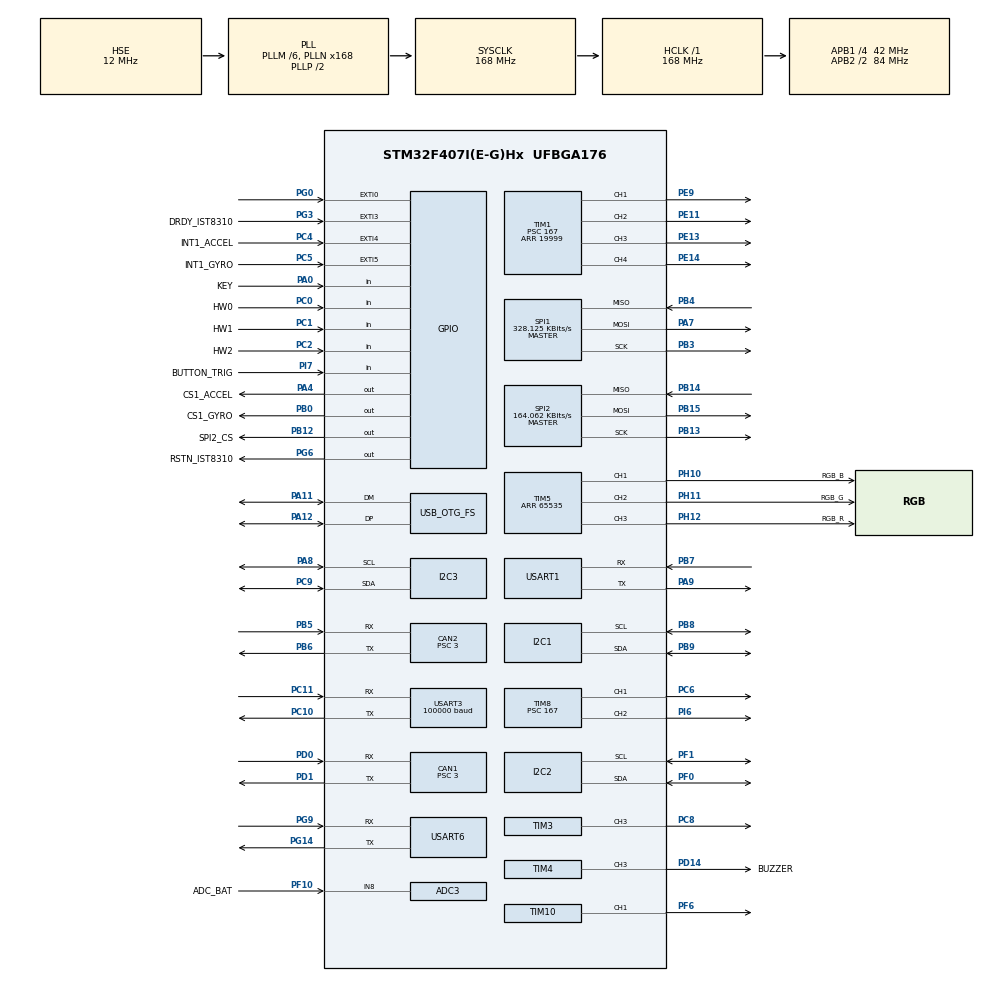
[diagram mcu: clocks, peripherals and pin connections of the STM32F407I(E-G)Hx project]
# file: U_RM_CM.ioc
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ADC1.Channel-0\#ChannelRegularConversion=ADC_CHANNEL_VREFINT
ADC1.ClockPrescaler=ADC_CLOCK_SYNC_PCLK_DIV6
ADC1.NbrOfConversionFlag=1
ADC1.Rank-0\#ChannelRegularConversion=1
ADC1.SamplingTime-0\#ChannelRegularConversion=ADC_SAMPLETIME_3CYCLES
ADC1.master=1
ADC3.Channel-0\#ChannelRegularConversion=ADC_CHANNEL_8
ADC3.ClockPrescaler=ADC_CLOCK_SYNC_PCLK_DIV6
ADC3.NbrOfConversionFlag=1
ADC3.Rank-0\#ChannelRegularConversion=1
ADC3.SamplingTime-0\#ChannelRegularConversion=ADC_SAMPLETIME_3CYCLES
CAN1.BS1=CAN_BS1_10TQ
CAN1.BS2=CAN_BS2_3TQ
CAN1.CalculateBaudRate=1000000
CAN1.CalculateTimeBit=1000
CAN1.CalculateTimeQuantum=71.42857142857143
CAN1.Prescaler=3
CAN2.BS1=CAN_BS1_10TQ
CAN2.BS2=CAN_BS2_3TQ
CAN2.CalculateBaudRate=1000000
CAN2.CalculateTimeBit=1000
CAN2.CalculateTimeQuantum=71.42857142857143
CAN2.Prescaler=3
Dma.I2C2_TX.2.Direction=DMA_MEMORY_TO_PERIPH
Dma.I2C2_TX.2.FIFOMode=DMA_FIFOMODE_DISABLE
Dma.I2C2_TX.2.Instance=DMA1_Stream7
Dma.I2C2_TX.2.MemDataAlignment=DMA_MDATAALIGN_BYTE
Dma.I2C2_TX.2.MemInc=DMA_MINC_ENABLE
Dma.I2C2_TX.2.Mode=DMA_NORMAL
Dma.I2C2_TX.2.PeriphDataAlignment=DMA_PDATAALIGN_BYTE
Dma.I2C2_TX.2.PeriphInc=DMA_PINC_DISABLE
Dma.I2C2_TX.2.Priority=DMA_PRIORITY_HIGH
Dma.Request0=SPI1_RX
Dma.Request1=SPI1_TX
Dma.Request2=I2C2_TX
Dma.Request3=USART1_TX
Dma.Request4=USART3_RX
Dma.Request5=USART6_RX
Dma.Request6=USART6_TX
Dma.SPI1_RX.0.Direction=DMA_PERIPH_TO_MEMORY
Dma.SPI1_RX.0.FIFOMode=DMA_FIFOMODE_DISABLE
Dma.SPI1_RX.0.Instance=DMA2_Stream2
Dma.SPI1_RX.0.MemDataAlignment=DMA_MDATAALIGN_BYTE
Dma.SPI1_RX.0.MemInc=DMA_MINC_ENABLE
Dma.SPI1_RX.0.Mode=DMA_NORMAL
Dma.SPI1_RX.0.PeriphDataAlignment=DMA_PDATAALIGN_BYTE
Dma.SPI1_RX.0.PeriphInc=DMA_PINC_DISABLE
Dma.SPI1_RX.0.Priority=DMA_PRIORITY_VERY_HIGH
Dma.SPI1_TX.1.Direction=DMA_MEMORY_TO_PERIPH
Dma.SPI1_TX.1.FIFOMode=DMA_FIFOMODE_DISABLE
Dma.SPI1_TX.1.Instance=DMA2_Stream3
Dma.SPI1_TX.1.MemDataAlignment=DMA_MDATAALIGN_BYTE
Dma.SPI1_TX.1.MemInc=DMA_MINC_ENABLE
Dma.SPI1_TX.1.Mode=DMA_NORMAL
Dma.SPI1_TX.1.PeriphDataAlignment=DMA_PDATAALIGN_BYTE
Dma.SPI1_TX.1.PeriphInc=DMA_PINC_DISABLE
Dma.SPI1_TX.1.Priority=DMA_PRIORITY_HIGH
Dma.USART1_TX.3.Direction=DMA_MEMORY_TO_PERIPH
Dma.USART1_TX.3.FIFOMode=DMA_FIFOMODE_DISABLE
Dma.USART1_TX.3.Instance=DMA2_Stream7
Dma.USART1_TX.3.MemDataAlignment=DMA_MDATAALIGN_BYTE
Dma.USART1_TX.3.MemInc=DMA_MINC_ENABLE
Dma.USART1_TX.3.Mode=DMA_NORMAL
Dma.USART1_TX.3.PeriphDataAlignment=DMA_PDATAALIGN_BYTE
Dma.USART1_TX.3.PeriphInc=DMA_PINC_DISABLE
Dma.USART1_TX.3.Priority=DMA_PRIORITY_MEDIUM
Dma.USART3_RX.4.Direction=DMA_PERIPH_TO_MEMORY
Dma.USART3_RX.4.FIFOMode=DMA_FIFOMODE_DISABLE
Dma.USART3_RX.4.Instance=DMA1_Stream1
Dma.USART3_RX.4.MemDataAlignment=DMA_MDATAALIGN_BYTE
Dma.USART3_RX.4.MemInc=DMA_MINC_ENABLE
Dma.USART3_RX.4.Mode=DMA_NORMAL
Dma.USART3_RX.4.PeriphDataAlignment=DMA_PDATAALIGN_BYTE
Dma.USART3_RX.4.PeriphInc=DMA_PINC_DISABLE
Dma.USART3_RX.4.Priority=DMA_PRIORITY_HIGH
Dma.USART6_RX.5.Direction=DMA_PERIPH_TO_MEMORY
Dma.USART6_RX.5.FIFOMode=DMA_FIFOMODE_DISABLE
Dma.USART6_RX.5.Instance=DMA2_Stream1
Dma.USART6_RX.5.MemDataAlignment=DMA_MDATAALIGN_BYTE
Dma.USART6_RX.5.MemInc=DMA_MINC_ENABLE
Dma.USART6_RX.5.Mode=DMA_NORMAL
Dma.USART6_RX.5.PeriphDataAlignment=DMA_PDATAALIGN_BYTE
Dma.USART6_RX.5.PeriphInc=DMA_PINC_DISABLE
Dma.USART6_RX.5.Priority=DMA_PRIORITY_HIGH
Dma.USART6_TX.6.Direction=DMA_MEMORY_TO_PERIPH
Dma.USART6_TX.6.FIFOMode=DMA_FIFOMODE_DISABLE
Dma.USART6_TX.6.Instance=DMA2_Stream6
Dma.USART6_TX.6.MemDataAlignment=DMA_MDATAALIGN_BYTE
Dma.USART6_TX.6.MemInc=DMA_MINC_ENABLE
Dma.USART6_TX.6.Mode=DMA_NORMAL
Dma.USART6_TX.6.PeriphDataAlignment=DMA_PDATAALIGN_BYTE
Dma.USART6_TX.6.PeriphInc=DMA_PINC_DISABLE
Dma.USART6_TX.6.Priority=DMA_PRIORITY_MEDIUM
FREERTOS.INCLUDE_eTaskGetState=1
FREERTOS.INCLUDE_pcTaskGetTaskName=1
FREERTOS.INCLUDE_uxTaskGetStackHighWaterMark=1
FREERTOS.INCLUDE_uxTaskGetStackHighWaterMark2=0
FREERTOS.INCLUDE_vTaskCleanUpResources=1
FREERTOS.INCLUDE_vTaskDelayUntil=1
FREERTOS.INCLUDE_xEventGroupSetBitFromISR=1
FREERTOS.INCLUDE_xQueueGetMutexHolder=1
FREERTOS.INCLUDE_xSemaphoreGetMutexHolder=1
FREERTOS.INCLUDE_xTaskAbortDelay=1
FREERTOS.INCLUDE_xTaskGetCurrentTaskHandle=1
FREERTOS.INCLUDE_xTaskGetHandle=1
FREERTOS.INCLUDE_xTimerPendFunctionCall=1
FREERTOS.Tasks01=test,0,128,test_tack,As weak,NULL,Dynamic,NULL,NULL
FREERTOS.configLIBRARY_LOWEST_INTERRUPT_PRIORITY=15
FREERTOS.configTOTAL_HEAP_SIZE=24576
FREERTOS.configUSE_TIMERS=1
I2C1.I2C_Mode=I2C_Fast
I2C2.I2C_Mode=I2C_Fast
I2C3.I2C_Mode=I2C_Fast
Mcu.Family=STM32F4
Mcu.Name=STM32F407I(E-G)Hx
Mcu.Package=UFBGA176
NVIC.CAN1_RX0_IRQn=true\:6\:0\:true\:false\:true\:true\:true\:true\:true
NVIC.CAN2_RX0_IRQn=true\:6\:0\:true\:false\:true\:true\:true\:true\:true
NVIC.DMA1_Stream1_IRQn=true\:5\:0\:false\:false\:false\:true\:false\:false\:true
NVIC.DMA1_Stream7_IRQn=true\:5\:0\:false\:false\:false\:true\:false\:true\:true
NVIC.DMA2_Stream1_IRQn=true\:5\:0\:false\:false\:true\:true\:false\:true\:true
NVIC.DMA2_Stream2_IRQn=true\:5\:0\:false\:false\:false\:true\:false\:true\:true
NVIC.DMA2_Stream3_IRQn=true\:5\:0\:false\:false\:false\:true\:false\:true\:true
NVIC.DMA2_Stream6_IRQn=true\:5\:0\:false\:false\:true\:true\:false\:true\:true
NVIC.DMA2_Stream7_IRQn=true\:5\:0\:false\:false\:true\:true\:false\:true\:true
NVIC.EXTI0_IRQn=true\:6\:0\:true\:false\:true\:true\:true\:true\:true
NVIC.EXTI3_IRQn=true\:5\:0\:true\:false\:true\:true\:true\:true\:true
NVIC.EXTI4_IRQn=true\:5\:0\:true\:false\:true\:true\:true\:true\:true
NVIC.EXTI9_5_IRQn=true\:5\:0\:true\:false\:true\:true\:true\:true\:true
NVIC.OTG_FS_IRQn=true\:5\:0\:false\:false\:true\:true\:true\:true\:true
NVIC.PriorityGroup=NVIC_PRIORITYGROUP_4
NVIC.USART3_IRQn=true\:4\:0\:true\:false\:false\:false\:true\:true\:true
NVIC.USART6_IRQn=true\:5\:0\:false\:false\:false\:true\:true\:true\:true
PA0-WKUP.GPIO_Label=KEY
PA0-WKUP.GPIO_PuPd=GPIO_PULLUP
PA0-WKUP.Signal=GPIO_Input
PA11.Mode=Device_Only
PA11.Signal=USB_OTG_FS_DM
PA12.Mode=Device_Only
PA12.Signal=USB_OTG_FS_DP
PA13.Mode=Serial_Wire
PA13.Signal=SYS_JTMS-SWDIO
PA14.Mode=Serial_Wire
PA14.Signal=SYS_JTCK-SWCLK
PA4.GPIO_Label=CS1_ACCEL
PA4.GPIO_PuPd=GPIO_PULLUP
PA4.GPIO_Speed=GPIO_SPEED_FREQ_HIGH
PA4.PinState=GPIO_PIN_SET
PA4.Signal=GPIO_Output
PA7.GPIO_PuPd=GPIO_PULLUP
PA7.Mode=Full_Duplex_Master
PA7.Signal=SPI1_MOSI
PA8.GPIO_Pu=GPIO_PULLUP
PA8.Mode=I2C
PA8.Signal=I2C3_SCL
PA9.Mode=Asynchronous
PA9.Signal=USART1_TX
PB0.GPIO_Label=CS1_GYRO
PB0.GPIO_PuPd=GPIO_PULLUP
PB0.GPIO_Speed=GPIO_SPEED_FREQ_HIGH
PB0.PinState=GPIO_PIN_SET
PB0.Signal=GPIO_Output
PB12.GPIO_Label=SPI2_CS
PB12.GPIO_PuPd=GPIO_PULLUP
PB12.GPIO_Speed=GPIO_SPEED_FREQ_MEDIUM
PB12.PinState=GPIO_PIN_SET
PB12.Signal=GPIO_Output
PB13.GPIO_PuPd=GPIO_PULLUP
PB13.Mode=Full_Duplex_Master
PB13.Signal=SPI2_SCK
PB14.GPIO_PuPd=GPIO_PULLUP
PB14.Mode=Full_Duplex_Master
PB14.Signal=SPI2_MISO
PB15.GPIO_PuPd=GPIO_PULLUP
PB15.Mode=Full_Duplex_Master
PB15.Signal=SPI2_MOSI
PB3.GPIO_PuPd=GPIO_PULLUP
PB3.Mode=Full_Duplex_Master
PB3.Signal=SPI1_SCK
PB4.GPIO_PuPd=GPIO_PULLUP
PB4.Mode=Full_Duplex_Master
PB4.Signal=SPI1_MISO
PB5.Mode=CAN_Activate
PB5.Signal=CAN2_RX
PB6.Mode=CAN_Activate
PB6.Signal=CAN2_TX
PB7.Mode=Asynchronous
PB7.Signal=USART1_RX
PB8.GPIO_Pu=GPIO_PULLUP
PB8.Mode=I2C
PB8.Signal=I2C1_SCL
PB9.GPIO_Pu=GPIO_PULLUP
PB9.Mode=I2C
PB9.Signal=I2C1_SDA
PC0.GPIO_Label=HW0
PC0.Signal=GPIO_Input
PC1.GPIO_Label=HW1
PC1.Signal=GPIO_Input
PC10.Mode=Asynchronous
PC10.Signal=USART3_TX
PC11.Mode=Asynchronous
PC11.Signal=USART3_RX
PC2.GPIO_Label=HW2
PC2.Signal=GPIO_Input
PC4.GPIO_Label=INT1_ACCEL
PC4.GPIO_PuPd=GPIO_PULLUP
PC4.Signal=GPXTI4
PC5.GPIO_Label=INT1_GYRO
PC5.GPIO_PuPd=GPIO_PULLUP
PC5.Signal=GPXTI5
PC6.GPIO_PuPd=GPIO_PULLUP
PC6.GPIO_Speed=GPIO_SPEED_FREQ_HIGH
PC6.Signal=S_TIM8_CH1
PC8.GPIO_PuPd=GPIO_PULLUP
PC8.GPIO_Speed=GPIO_SPEED_FREQ_HIGH
PC8.Signal=S_TIM3_CH3
PC9.GPIO_Pu=GPIO_PULLUP
PC9.Mode=I2C
PC9.Signal=I2C3_SDA
PD0.Mode=CAN_Activate
PD0.Signal=CAN1_RX
PD1.Mode=CAN_Activate
PD1.Signal=CAN1_TX
PD14.GPIO_Label=BUZZER
PD14.GPIO_PuPd=GPIO_PULLUP
PD14.GPIO_Speed=GPIO_SPEED_FREQ_VERY_HIGH
PD14.Signal=S_TIM4_CH3
PE11.GPIO_PuPd=GPIO_PULLUP
PE11.GPIO_Speed=GPIO_SPEED_FREQ_HIGH
PE11.Signal=S_TIM1_CH2
PE13.GPIO_PuPd=GPIO_PULLUP
PE13.GPIO_Speed=GPIO_SPEED_FREQ_HIGH
PE13.Signal=S_TIM1_CH3
PE14.GPIO_PuPd=GPIO_PULLUP
PE14.GPIO_Speed=GPIO_SPEED_FREQ_HIGH
PE14.Signal=S_TIM1_CH4
PE9.GPIO_PuPd=GPIO_PULLUP
PE9.GPIO_Speed=GPIO_SPEED_FREQ_HIGH
PE9.Signal=S_TIM1_CH1
PF0.GPIO_Pu=GPIO_PULLUP
PF0.Mode=I2C
PF0.Signal=I2C2_SDA
PF1.GPIO_Pu=GPIO_PULLUP
PF1.Mode=I2C
PF1.Signal=I2C2_SCL
PF10.GPIO_Label=ADC_BAT
PF10.Mode=IN8
PF10.Signal=ADC3_IN8
PF6.GPIO_PuPd=GPIO_PULLUP
PF6.GPIO_Speed=GPIO_SPEED_FREQ_HIGH
PF6.Signal=S_TIM10_CH1
PG0.GPIO_PuPd=GPIO_PULLUP
PG0.Signal=GPXTI0
PG14.Mode=Asynchronous
PG14.Signal=USART6_TX
PG3.GPIO_Label=DRDY_IST8310
PG3.GPIO_PuPd=GPIO_PULLUP
PG3.Signal=GPXTI3
PG6.GPIO_Label=RSTN_IST8310
PG6.GPIO_PuPd=GPIO_PULLUP
PG6.GPIO_Speed=GPIO_SPEED_FREQ_MEDIUM
PG6.PinState=GPIO_PIN_SET
PG6.Signal=GPIO_Output
PG9.Mode=Asynchronous
PG9.Signal=USART6_RX
PH0-OSC_IN.Mode=HSE-External-Oscillator
PH0-OSC_IN.Signal=RCC_OSC_IN
PH1-OSC_OUT.Mode=HSE-External-Oscillator
PH1-OSC_OUT.Signal=RCC_OSC_OUT
PH10.GPIO_Label=RGB_B
PH10.GPIO_ModeDefaultPP=GPIO_MODE_AF_PP
PH10.GPIO_PuPd=GPIO_PULLUP
PH10.GPIO_Speed=GPIO_SPEED_FREQ_HIGH
PH10.Signal=S_TIM5_CH1
PH11.GPIO_Label=RGB_G
PH11.GPIO_PuPd=GPIO_PULLUP
PH11.GPIO_Speed=GPIO_SPEED_FREQ_HIGH
PH11.Signal=S_TIM5_CH2
PH12.GPIO_Label=RGB_R
PH12.GPIO_PuPd=GPIO_PULLUP
PH12.GPIO_Speed=GPIO_SPEED_FREQ_HIGH
PH12.Signal=S_TIM5_CH3
PI6.GPIO_PuPd=GPIO_PULLUP
PI6.GPIO_Speed=GPIO_SPEED_FREQ_HIGH
PI6.Signal=S_TIM8_CH2
PI7.GPIO_Label=BUTTON_TRIG
PI7.GPIO_PuPd=GPIO_PULLUP
PI7.Signal=GPIO_Input
ProjectManager.HeapSize=0x200
ProjectManager.StackSize=0x400
ProjectManager.TargetToolchain=MDK-ARM V5.32
RCC.48MHZClocksFreq_Value=48000000
RCC.AHBFreq_Value=168000000
RCC.APB1CLKDivider=RCC_HCLK_DIV4
RCC.APB1Freq_Value=42000000
RCC.APB1TimFreq_Value=84000000
RCC.APB2CLKDivider=RCC_HCLK_DIV2
RCC.APB2Freq_Value=84000000
RCC.APB2TimFreq_Value=168000000
RCC.CortexFreq_Value=168000000
RCC.EnbaleCSS=true
RCC.HCLKFreq_Value=168000000
RCC.HSE_VALUE=12000000
RCC.HSI_VALUE=16000000
RCC.LSE_VALUE=32768
RCC.PLLM=6
RCC.PLLN=168
RCC.PLLQ=7
RCC.RCC_RTC_Clock_Source=RCC_RTCCLKSOURCE_HSE_DIV30
RCC.RCC_RTC_Clock_Source_FROM_HSE=RCC_RTCCLKSOURCE_HSE_DIV30
RCC.SYSCLKFreq_VALUE=168000000
RCC.SYSCLKSource=RCC_SYSCLKSOURCE_PLLCLK
RCC.VCOOutputFreq_Value=336000000
RTC.AsynchPrediv=124
RTC.SynchPrediv=3199
SH.S_TIM10_CH1.0=TIM10_CH1,PWM Generation1 CH1
SH.S_TIM1_CH1.0=TIM1_CH1,PWM Generation1 CH1
SH.S_TIM1_CH2.0=TIM1_CH2,PWM Generation2 CH2
SH.S_TIM1_CH3.0=TIM1_CH3,PWM Generation3 CH3
SH.S_TIM1_CH4.0=TIM1_CH4,PWM Generation4 CH4
SH.S_TIM3_CH3.0=TIM3_CH3,PWM Generation3 CH3
SH.S_TIM4_CH3.0=TIM4_CH3,PWM Generation3 CH3
SH.S_TIM5_CH1.0=TIM5_CH1,PWM Generation1 CH1
SH.S_TIM5_CH2.0=TIM5_CH2,PWM Generation2 CH2
SH.S_TIM5_CH3.0=TIM5_CH3,PWM Generation3 CH3
SH.S_TIM8_CH1.0=TIM8_CH1,PWM Generation1 CH1
SH.S_TIM8_CH2.0=TIM8_CH2,PWM Generation2 CH2
SPI1.BaudRatePrescaler=SPI_BAUDRATEPRESCALER_256
SPI1.CLKPhase=SPI_PHASE_2EDGE
SPI1.CLKPolarity=SPI_POLARITY_HIGH
SPI1.CalculateBaudRate=328.125 KBits/s
SPI1.Direction=SPI_DIRECTION_2LINES
SPI1.Mode=SPI_MODE_MASTER
SPI1.VirtualType=VM_MASTER
SPI2.BaudRatePrescaler=SPI_BAUDRATEPRESCALER_256
SPI2.CLKPhase=SPI_PHASE_2EDGE
SPI2.CLKPolarity=SPI_POLARITY_HIGH
SPI2.CalculateBaudRate=164.062 KBits/s
SPI2.Direction=SPI_DIRECTION_2LINES
SPI2.Mode=SPI_MODE_MASTER
SPI2.VirtualType=VM_MASTER
TIM1.Channel-PWM\ Generation1\ CH1=TIM_CHANNEL_1
TIM1.Channel-PWM\ Generation2\ CH2=TIM_CHANNEL_2
TIM1.Channel-PWM\ Generation3\ CH3=TIM_CHANNEL_3
TIM1.Channel-PWM\ Generation4\ CH4=TIM_CHANNEL_4
TIM1.Period=19999
TIM1.Prescaler=167
TIM1.Pulse-PWM\ Generation1\ CH1=1000
TIM1.Pulse-PWM\ Generation2\ CH2=1000
TIM1.Pulse-PWM\ Generation3\ CH3=1000
TIM1.Pulse-PWM\ Generation4\ CH4=1000
TIM10.Channel=TIM_CHANNEL_1
TIM10.Period=4999
TIM3.Channel-PWM\ Generation3\ CH3=TIM_CHANNEL_3
TIM3.Period=8399
TIM4.Channel-PWM\ Generation3\ CH3=TIM_CHANNEL_3
TIM4.Prescaler=167
TIM5.Channel-PWM\ Generation1\ CH1=TIM_CHANNEL_1
TIM5.Channel-PWM\ Generation2\ CH2=TIM_CHANNEL_2
TIM5.Channel-PWM\ Generation3\ CH3=TIM_CHANNEL_3
TIM5.Period=65535
TIM8.Channel-PWM\ Generation1\ CH1=TIM_CHANNEL_1
TIM8.Channel-PWM\ Generation2\ CH2=TIM_CHANNEL_2
TIM8.Period=19999
TIM8.Prescaler=167
TIM8.Pulse-PWM\ Generation1\ CH1=1000
TIM8.Pulse-PWM\ Generation2\ CH2=1000
USART1.VirtualMode=VM_ASYNC
USART3.BaudRate=100000
USART3.VirtualMode=VM_ASYNC
USART6.VirtualMode=VM_ASYNC
USB_DEVICE.CLASS_NAME_FS=CDC
USB_DEVICE.VirtualMode-CDC_FS=Cdc
USB_DEVICE.VirtualModeFS=Cdc_FS
USB_OTG_FS.VirtualMode=Device_Only
VP_ADC1_TempSens_Input.Mode=IN-TempSens
VP_ADC1_Vref_Input.Mode=IN-Vrefint
VP_CRC_VS_CRC.Mode=CRC_Activate
VP_FREERTOS_VS_CMSIS_V1.Mode=CMSIS_V1
VP_RNG_VS_RNG.Mode=RNG_Activate
VP_RTC_VS_RTC_Activate.Mode=RTC_Enabled
VP_TIM10_VS_ClockSourceINT.Mode=Enable_Timer
VP_TIM1_VS_ClockSourceINT.Mode=Internal
VP_TIM3_VS_ClockSourceINT.Mode=Internal
VP_TIM4_VS_ClockSourceINT.Mode=Internal
VP_TIM5_VS_ClockSourceINT.Mode=Internal
VP_TIM8_VS_ClockSourceINT.Mode=Internal
VP_USB_DEVICE_VS_USB_DEVICE_CDC_FS.Mode=CDC_FS
board=custom

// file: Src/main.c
/* USER CODE BEGIN Header */
/**
 ******************************************************************************
 * @file           : main.c
 * @brief          : Main program body
 ******************************************************************************
 * @attention
 *
 * Copyright (c) 2023 STMicroelectronics.
 * All rights reserved.
 *
 * This software is licensed under terms that can be found in the LICENSE file
 * in the root directory of this software component.
 * If no LICENSE file comes with this software, it is provided AS-IS.
 *
 ******************************************************************************
 */
/* USER CODE END Header */
#include "main.h"
#include "cmsis_os.h"
#include "adc.h"
#include "can.h"
#include "crc.h"
#include "dma.h"
#include "i2c.h"
#include "rng.h"
#include "rtc.h"
#include "spi.h"
#include "tim.h"
#include "usart.h"
#include "usb_device.h"
#include "gpio.h"

/* USER CODE BEGIN Includes */
#include "user_c.h"
/* USER CODE END Includes */

void SystemClock_Config(void);

void MX_FREERTOS_Init(void);

int main(void) {

    /* MCU Configuration--------------------------------------------------------*/

    /* Reset of all peripherals, Initializes the Flash interface and the Systick. */
    HAL_Init();

    /* Configure the system clock */
    SystemClock_Config();

    /* Initialize all configured peripherals */
    MX_GPIO_Init();
    MX_DMA_Init();
    MX_ADC1_Init();
    MX_ADC3_Init();
    MX_CAN1_Init();
    MX_CRC_Init();
    MX_I2C1_Init();
    MX_I2C2_Init();
    MX_I2C3_Init();
    MX_RNG_Init();
    MX_RTC_Init();
    MX_SPI1_Init();
    MX_SPI2_Init();
    MX_TIM1_Init();
    MX_TIM3_Init();
    MX_TIM4_Init();
    MX_TIM5_Init();
    MX_TIM8_Init();
    MX_TIM10_Init();
    MX_CAN2_Init();
    MX_USART1_UART_Init();
    MX_USART3_UART_Init();
    MX_USART6_UART_Init();
    /* USER CODE BEGIN 2 */
    can_filter_init();

    delay_init();
    //校准
    cali_param_init();

    remote_control_init();

    usart1_tx_dma_init();

    /* USER CODE END 2 */

    /* Call init function for freertos objects (in freertos.c) */
    MX_FREERTOS_Init();
    /* Start scheduler */
    osKernelStart();

    /* We should never get here as control is now taken by the scheduler */
    /* Infinite loop */
    while (1) {

    }
}

void SystemClock_Config(void) {
    RCC_OscInitTypeDef RCC_OscInitStruct = {0};
    RCC_ClkInitTypeDef RCC_ClkInitStruct = {0};

    /** Configure the main internal regulator output voltage
     */
    __HAL_RCC_PWR_CLK_ENABLE();
    __HAL_PWR_VOLTAGESCALING_CONFIG(PWR_REGULATOR_VOLTAGE_SCALE1);

    /** Initializes the RCC Oscillators according to the specified parameters
     * in the RCC_OscInitTypeDef structure.
     */
    RCC_OscInitStruct.OscillatorType = RCC_OSCILLATORTYPE_HSE;
    RCC_OscInitStruct.HSEState = RCC_HSE_ON;
    RCC_OscInitStruct.PLL.PLLState = RCC_PLL_ON;
    RCC_OscInitStruct.PLL.PLLSource = RCC_PLLSOURCE_HSE;
    RCC_OscInitStruct.PLL.PLLM = 6;
    RCC_OscInitStruct.PLL.PLLN = 168;
    RCC_OscInitStruct.PLL.PLLP = RCC_PLLP_DIV2;
    RCC_OscInitStruct.PLL.PLLQ = 7;
    if (HAL_RCC_OscConfig(&RCC_OscInitStruct) != HAL_OK) {
        Error_Handler();
    }

    /** Initializes the CPU, AHB and APB buses clocks
     */
    RCC_ClkInitStruct.ClockType = RCC_CLOCKTYPE_HCLK | RCC_CLOCKTYPE_SYSCLK | RCC_CLOCKTYPE_PCLK1 | RCC_CLOCKTYPE_PCLK2;
    RCC_ClkInitStruct.SYSCLKSource = RCC_SYSCLKSOURCE_PLLCLK;
    RCC_ClkInitStruct.AHBCLKDivider = RCC_SYSCLK_DIV1;
    RCC_ClkInitStruct.APB1CLKDivider = RCC_HCLK_DIV4;
    RCC_ClkInitStruct.APB2CLKDivider = RCC_HCLK_DIV2;

    if (HAL_RCC_ClockConfig(&RCC_ClkInitStruct, FLASH_LATENCY_5) != HAL_OK) {
        Error_Handler();
    }

    /** Enables the Clock Security System
     */
    HAL_RCC_EnableCSS();
}

void Error_Handler(void) {
    __disable_irq();
    while (1) {
    }
}

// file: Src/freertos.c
/* USER CODE BEGIN Header */
/**
 ******************************************************************************
 * File Name          : freertos.c
 * Description        : Code for freertos applications
 ******************************************************************************
 * @attention
 *
 * Copyright (c) 2023 STMicroelectronics.
 * All rights reserved.
 *
 * This software is licensed under terms that can be found in the LICENSE file
 * in the root directory of this software component.
 * If no LICENSE file comes with this software, it is provided AS-IS.
 *
 ******************************************************************************
 */
/* USER CODE END Header */

#include "FreeRTOS.h"
#include "task.h"
#include "main.h"
#include "cmsis_os.h"

/* USER CODE BEGIN Includes */
#include "user_c.h"
/* USER CODE END Includes */

/* USER CODE BEGIN PTD */
// 任务ID 指针
osThreadId user_tset_task_handle;

osThreadId usb_task_handle;
osThreadId battery_voltage_handle;
osThreadId led_RGB_flow_handle;
osThreadId imuTaskHandle;

osThreadId chassisTaskHandle;
osThreadId calibrate_tast_handle;

osThreadId gimbalTaskHandle;
osThreadId servo_task_handle;

osThreadId referee_task_handle;
osThreadId detect_handle;

/*绘图*/
osThreadId draw_handle;
/* USER CODE END PTD */

osThreadId testHandle;

void test_tack(void const *argument);

extern void MX_USB_DEVICE_Init(void);
void MX_FREERTOS_Init(void); /* (MISRA C 2004 rule 8.1) */

/* GetIdleTaskMemory prototype (linked to static allocation support) */
void vApplicationGetIdleTaskMemory(StaticTask_t **ppxIdleTaskTCBBuffer, StackType_t **ppxIdleTaskStackBuffer, uint32_t *pulIdleTaskStackSize);

/* GetTimerTaskMemory prototype (linked to static allocation support) */
void vApplicationGetTimerTaskMemory(StaticTask_t **ppxTimerTaskTCBBuffer, StackType_t **ppxTimerTaskStackBuffer, uint32_t *pulTimerTaskStackSize);

/* USER CODE BEGIN GET_IDLE_TASK_MEMORY */
static StaticTask_t xIdleTaskTCBBuffer;
static StackType_t xIdleStack[configMINIMAL_STACK_SIZE];

void vApplicationGetIdleTaskMemory(StaticTask_t **ppxIdleTaskTCBBuffer, StackType_t **ppxIdleTaskStackBuffer, uint32_t *pulIdleTaskStackSize)
{
  *ppxIdleTaskTCBBuffer = &xIdleTaskTCBBuffer;
  *ppxIdleTaskStackBuffer = &xIdleStack[0];
  *pulIdleTaskStackSize = configMINIMAL_STACK_SIZE;
  /* place for user code */
}
/* USER CODE END GET_IDLE_TASK_MEMORY */

/* USER CODE BEGIN GET_TIMER_TASK_MEMORY */
static StaticTask_t xTimerTaskTCBBuffer;
static StackType_t xTimerStack[configTIMER_TASK_STACK_DEPTH];

void vApplicationGetTimerTaskMemory(StaticTask_t **ppxTimerTaskTCBBuffer, StackType_t **ppxTimerTaskStackBuffer, uint32_t *pulTimerTaskStackSize)
{
  *ppxTimerTaskTCBBuffer = &xTimerTaskTCBBuffer;
  *ppxTimerTaskStackBuffer = &xTimerStack[0];
  *pulTimerTaskStackSize = configTIMER_TASK_STACK_DEPTH;
  /* place for user code */
}
/* USER CODE END GET_TIMER_TASK_MEMORY */

void MX_FREERTOS_Init(void)
{

  /* Create the thread(s) */
  /* definition and creation of test */

  osThreadDef(test, test_tack, osPriorityNormal, 0, 128);
  testHandle = osThreadCreate(osThread(test), NULL);

  /* USER CODE BEGIN RTOS_THREADS */
  /* add threads, ... */

  //  // usb数据发送任务
  //  osThreadDef(USBTask, usb_task, osPriorityNormal, 0, 128);
  //  usb_task_handle = osThreadCreate(osThread(USBTask), NULL);

  // 校准任务
  osThreadDef(cali, calibrate_task, osPriorityNormal, 0, 512);
  calibrate_tast_handle = osThreadCreate(osThread(cali), NULL);

  // 错误检测
  osThreadDef(DETECT, detect_task, osPriorityNormal, 0, 256);
  detect_handle = osThreadCreate(osThread(DETECT), NULL);

  // 裁判系统任务
  osThreadDef(referee, referee_usart_task, osPriorityNormal, 0, 128);
  referee_task_handle = osThreadCreate(osThread(referee), NULL);

  // 绘制UI任务
  // osThreadDef(draw, draw_UI_task, osPriorityNormal, 0, 128);
  // draw_handle = osThreadCreate(osThread(draw), NULL);

  // 电池电量检测任务
  osThreadDef(BATTERY_VOLTAGE, battery_voltage_task, osPriorityNormal, 0, 128);
  battery_voltage_handle = osThreadCreate(osThread(BATTERY_VOLTAGE), NULL);

  // 呼吸灯任务
  osThreadDef(led, led_RGB_flow_task, osPriorityNormal, 0, 256);
  led_RGB_flow_handle = osThreadCreate(osThread(led), NULL);

  // 姿态任务
  osThreadDef(imuTask, INS_task, osPriorityRealtime, 0, 1024);
  imuTaskHandle = osThreadCreate(osThread(imuTask), NULL);

  // 底盘控制
  osThreadDef(ChassisTask, chassis_task, osPriorityAboveNormal, 0, 512);
  chassisTaskHandle = osThreadCreate(osThread(ChassisTask), NULL);

  // 云台任务
  osThreadDef(gimbalTask, gimbal_task, osPriorityHigh, 0, 512);
  gimbalTaskHandle = osThreadCreate(osThread(gimbalTask), NULL);

  // 舵机任务
  osThreadDef(SERVO, servo_task, osPriorityNormal, 0, 128);
  servo_task_handle = osThreadCreate(osThread(SERVO), NULL);

  //  // 测试任务
  //  osThreadDef(UserTest_Task, usere_test_task, osPriorityNormal, 0, 1024);
  //  usb_task_handle = osThreadCreate(osThread(UserTest_Task), NULL);

  /* USER CODE END RTOS_THREADS */
}

__weak void test_tack(void const *argument)
{
  /* init code for USB_DEVICE */
  MX_USB_DEVICE_Init();
  for (;;)
  {
    osDelay(1);
  }
}
